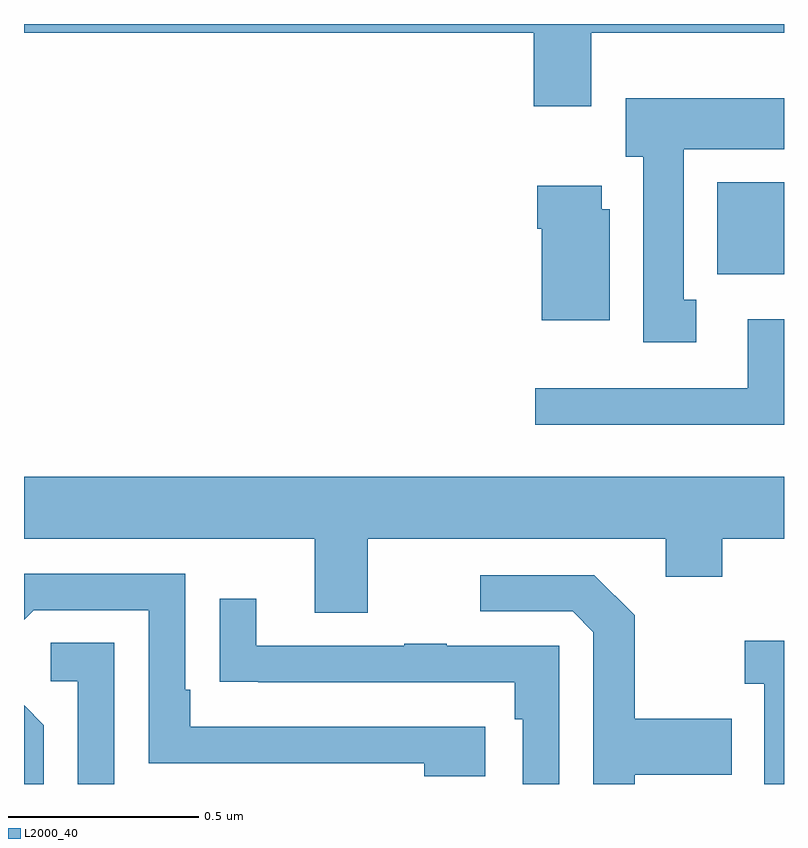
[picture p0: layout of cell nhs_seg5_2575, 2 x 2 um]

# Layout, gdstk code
import gdstk
lib = gdstk.Library(unit=1e-6, precision=1e-09)
def R(c, l, rs):  # rectangles x0, y0, x1, y1
    for r in rs: c.add(gdstk.rectangle(r[:2], r[2:], *l))
def P(c, l, *ps):  # polygons
    for p in ps: c.add(gdstk.Polygon(p, *l))
L2000_40 = (2000, 40)

nhs_seg5_2575 = lib.new_cell('nhs_seg5_2575')
R(nhs_seg5_2575, L2000_40, [(147.824,840.14,148,840.382)])
P(nhs_seg5_2575, L2000_40, [(147.493,840.776),(148,840.776),(148,840.799),(146,840.799),(146,840.776),(147.341,840.776),(147.341,840.582),(147.493,840.582)],
  [(147.769,840.074),(147.736,840.074),(147.736,840.47),(148,840.47),(148,840.604),(147.584,840.604),(147.584,840.45),(147.629,840.45),(147.629,839.961),(147.769,839.961)],
  [(147.541,840.312),(147.52,840.312),(147.52,840.373),(147.35,840.373),(147.35,840.26),(147.362,840.26),(147.362,840.02),(147.541,840.02)],
  [(148,840.022),(147.905,840.022),(147.905,839.841),(147.345,839.841),(147.345,839.744),(148,839.744)],
  [(146.905,839.444),(147.689,839.444),(147.689,839.345),(147.837,839.345),(147.837,839.444),(148,839.444),(148,839.608),(146,839.608),(146,839.444),(146.765,839.444),(146.765,839.25),(146.905,839.25)],
  [(147.214,838.95),(146.437,838.95),(146.437,839.047),(146.424,839.047),(146.424,839.352),(146,839.352),(146,839.231),(146.025,839.256),(146.328,839.256),(146.328,838.854),(147.053,838.854),(147.053,838.82),(147.214,838.82)],
  [(147.607,838.823),(147.863,838.823),(147.863,838.971),(147.607,838.971),(147.607,839.243),(147.501,839.349),(147.201,839.349),(147.201,839.253),(147.444,839.253),(147.498,839.199),(147.498,838.799),(147.607,838.799)],
  [(147.408,839.163),(147.113,839.163),(147.113,839.168),(147.001,839.168),(147.001,839.163),(146.611,839.163),(146.611,839.287),(146.515,839.287),(146.515,839.068),(146.617,839.068),(146.617,839.067),(147.292,839.067),(147.292,838.97),(147.312,838.97),(147.312,838.799),(147.408,838.799)],
  [(148,839.176),(147.897,839.176),(147.897,839.063),(147.948,839.063),(147.948,838.799),(148,838.799)],
  [(146.238,839.171),(146.07,839.171),(146.07,839.07),(146.142,839.07),(146.142,838.799),(146.238,838.799)],
  [(146.052,838.954),(146,839.006),(146,838.799),(146.052,838.799)])

lib.write_gds('nhs_seg5_2575.gds')
